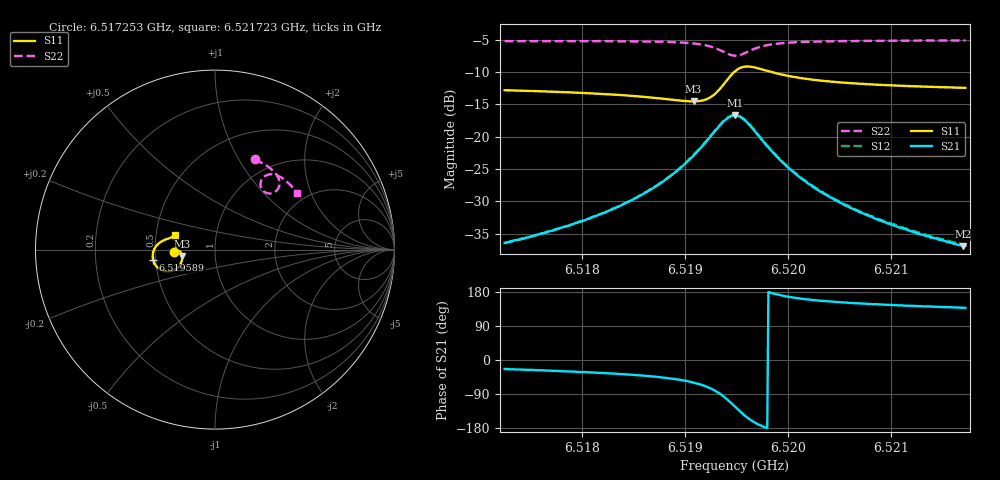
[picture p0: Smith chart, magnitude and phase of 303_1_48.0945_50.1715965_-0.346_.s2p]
#  HZ  S  RI  R  50.00
! Rohde & Schwarz Vector Network Analyzer
! Rohde-Schwarz,ZNB20-2Port,1311601062101988,3.16
! Created: UTC 12/23/2023, 4:04:59 AM
! freq[Hz]  re:S11  im:S11  re:S21  im:S21  re:S12  im:S12  re:S22  im:S22
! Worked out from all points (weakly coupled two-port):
!   401 points, 6.517253 GHz to 6.521723 GHz, reference 50 ohm
!   highest |S21| = -16.70 dB at 6.519488 GHz (marker M1); lowest = -36.9 dB at 6.521701 GHz (marker M2)
!   lowest |S11| = -14.5 dB at 6.519086 GHz (marker M3), VSWR 1.46, Z = 34.4 - j2.48 ohm
!   |S11| at or under -10 dB: start of sweep to 6.519479 GHz; 6.519844 GHz to end of sweep
!   |S22| runs from -7.5 to -5.1 dB; largest |S21 - S12| = 0.0043
!   S11 on the Smith chart (normalised r, x): 6.517253 GHz: 0.63, -0.02; 6.519589 GHz: 0.49, -0.07; 6.521723 GHz: 0.63, +0.11
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6.5172529e9  -0.2288 -0.0116  0.0138 -0.00604  0.0139 -0.00555  0.2214 0.5021
6.5176329e9  -0.2242 -0.00619  0.0159 -0.00832  0.0162 -0.00774  0.249 0.4892
6.5180017e9  -0.2184 -0.00249  0.0189 -0.0117  0.0193 -0.0111  0.2764 0.4742
6.5183817e9  -0.2101 -0.00139  0.0235 -0.0177  0.0241 -0.0172  0.3049 0.4553
6.5187505e9  -0.1982 -0.00737  0.0302 -0.0303  0.0314 -0.0296  0.3335 0.4295
6.5189069e9  -0.1917 -0.0154  0.0338 -0.0407  0.0354 -0.04  0.3455 0.4139
6.5190857e9  -0.1843 -0.0348  0.0363 -0.0615  0.0384 -0.061  0.3574 0.3875
6.5191863e9  -0.1839 -0.0548  0.0333 -0.0808  0.0359 -0.0804  0.3595 0.3661
6.5192757e9  -0.1923 -0.0809  0.0216 -0.104  0.0248 -0.1043  0.3531 0.3422
6.5193987e9  -0.2388 -0.1186  -0.0255 -0.1336  -0.0218 -0.1352  0.3162 0.3138
6.5194881e9  -0.3001 -0.1132  -0.08 -0.1223  -0.0771 -0.1256  0.2734 0.3232
6.5195328e9  -0.3263 -0.0929  -0.1007 -0.1017  -0.0987 -0.1052  0.2587 0.3412
6.5195887e9  -0.3439 -0.0595  -0.1129 -0.0705  -0.1117 -0.0742  0.2536 0.3672
6.5197004e9  -0.3403 -0.0023  -0.1033 -0.0219  -0.1035 -0.025  0.2717 0.4045
6.5198122e9  -0.3204 0.0281  -0.0827 0.000887  -0.0834 -0.00137  0.2979 0.4181
6.5200134e9  -0.2904 0.0496  -0.0552 0.0134  -0.0562 0.0119  0.3342 0.4175
6.5202369e9  -0.2703 0.0581  -0.0385 0.0151  -0.0394 0.0142  0.3611 0.4068
6.5205722e9  -0.2531 0.0644  -0.0256 0.0138  -0.0263 0.0135  0.3902 0.3875
6.5209857e9  -0.24 0.0702  -0.0175 0.012  -0.0181 0.0116  0.4176 0.3627
6.5212763e9  -0.2335 0.0741  -0.0139 0.0109  -0.0146 0.0107  0.4341 0.3449
6.5217009e9  -0.2255 0.0797  -0.0106 0.00953  -0.0111 0.00947  0.4557 0.3184
6.5217233e9  -0.225 0.0801  -0.0105 0.00972  -0.011 0.0095  0.4567 0.317
